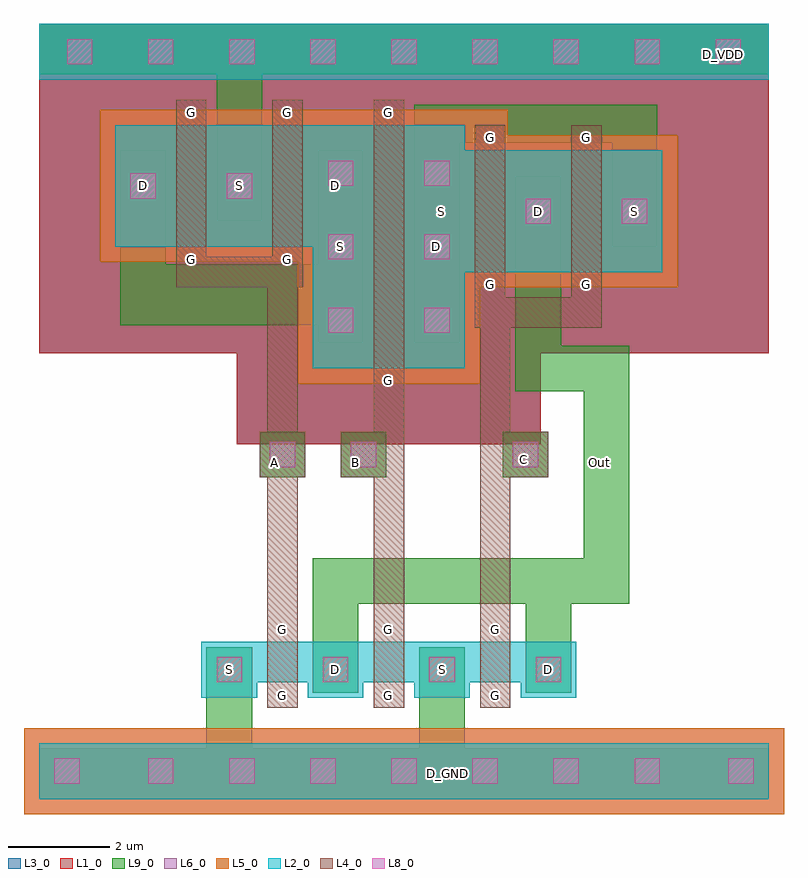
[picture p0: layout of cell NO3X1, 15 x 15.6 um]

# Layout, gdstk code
import gdstk
lib = gdstk.Library(unit=1e-6, precision=1e-09)
def R(c, l, rs):  # rectangles x0, y0, x1, y1
    for r in rs: c.add(gdstk.rectangle(r[:2], r[2:], *l))
def A(c, l, x, y, w, h, nx, ny, dx, dy):  # array of equal rectangles
    R(c, l, [(x+i*dx, y+j*dy, x+i*dx+w, y+j*dy+h) for i in range(nx) for j in range(ny)])
def P(c, l, *ps):  # polygons
    for p in ps: c.add(gdstk.Polygon(p, *l))
L1_0 = (1, 0)
L2_0 = (2, 0)
L3_0 = (3, 0)
L4_0 = (4, 0)
L5_0 = (5, 0)
L6_0 = (6, 0)
L8_0 = (8, 0)
L9_0 = (9, 0)

grid_pmos_end = lib.new_cell('GRID_PMOS_END')
R(grid_pmos_end, L2_0, [(-0.55,-0.55,0.55,0.55)])
R(grid_pmos_end, L5_0, [(-0.85,-0.85,0.85,0.85)])
R(grid_pmos_end, L6_0, [(-0.85,-0.85,0.85,0.85)])
R(grid_pmos_end, L8_0, [(-0.25,-0.25,0.25,0.25)])
R(grid_pmos_end, L9_0, [(-0.55,-0.55,0.55,0.45)])

no3x1 = lib.new_cell('NO3X1')
A(no3x1, L1_0, 0, 8.8, 1.6, 6.5, 9, 1, 1.6, 0)
R(no3x1, L1_0, [(3.9,7,9.9,14.8), (5.9,8.9,11.9,14.3), (7.8,8.9,13.8,14.3), (0,9.4,6,14.8), (1.9,9.4,7.9,14.8)])
A(no3x1, L2_0, 0, 0, 1.6, 1.1, 9, 2, 1.6, 14.2)
A(no3x1, L2_0, 4.3, 2.3, 1, 0.8, 3, 1, 2.1, 0)
R(no3x1, L2_0, [(3.2,2,4.3,3.1), (5.3,2,6.4,3.1), (5.3,2,6.4,3.1), (7.4,2,8.5,3.1), (7.4,2,8.5,3.1), (9.5,2,10.6,3.1), (5.4,8.5,6.5,13.3), (6.5,8.5,7.3,13.3), (7.3,8.5,8.4,13.3), (7.4,10.4,8.5,12.8), (8.5,10.4,9.3,12.8), (9.3,10.4,10.4,12.8), (9.3,10.4,10.4,12.8), (10.4,10.4,11.2,12.8), (11.2,10.4,12.3,12.8), (1.5,10.9,2.6,13.3), (2.6,10.9,3.4,13.3), (3.4,10.9,4.5,13.3), (3.4,10.9,4.5,13.3), (4.5,10.9,5.3,13.3), (5.3,10.9,6.4,13.3)])
A(no3x1, L3_0, 0, 8.8, 1.6, 6.5, 9, 1, 1.6, 0)
R(no3x1, L3_0, [(3.9,7,9.9,14.8), (5.9,8.9,11.9,14.3), (7.8,8.9,13.8,14.3), (0,9.4,6,14.8), (1.9,9.4,7.9,14.8)])
A(no3x1, L4_0, 4.5, 1.8, 0.6, 0.5, 3, 2, 2.1, 1.3)
A(no3x1, L4_0, 4.5, 1.8, 0.6, 1.8, 3, 1, 2.1, 0)
R(no3x1, L4_0, [(4.35,6.35,5.25,7.25), (5.95,6.35,6.85,7.25), (9.15,6.35,10.05,7.25), (6.6,8,7.2,8.5), (6.6,8,7.2,13.8), (8.6,9.9,9.2,13.3), (8.6,9.9,9.2,10.4), (10.5,9.9,11.1,13.3), (10.5,9.9,11.1,10.4), (2.7,10.4,3.3,13.8), (2.7,10.4,3.3,10.9), (4.6,10.4,5.2,13.8), (4.6,10.4,5.2,10.9), (8.6,12.8,9.2,13.3), (10.5,12.8,11.1,13.3), (2.7,13.3,3.3,13.8), (4.6,13.3,5.2,13.8), (6.6,13.3,7.2,13.8)])
P(no3x1, L4_0, [(8.6,9.3),(11.1,9.3),(11.1,10.1),(10.5,10.1),(10.5,9.9),(8.6,9.9)])
A(no3x1, L5_0, 0, -0.3, 1.6, 1.7, 9, 1, 1.6, 0)
R(no3x1, L5_0, [(5.1,8.2,8.7,13.6), (7.1,10.1,10.7,13.1), (8.7,10.1,9.25,13.6), (9,10.1,12.6,13.1), (1.2,10.6,4.8,13.6), (3.1,10.6,6.7,13.6), (4.8,10.6,5.1,13.6)])
A(no3x1, L6_0, 0, -0.3, 1.6, 1.7, 9, 1, 1.6, 0)
R(no3x1, L6_0, [(5.1,8.2,8.7,13.6), (7.1,10.1,10.7,13.1), (8.55,10.1,9.25,13.6), (9,10.1,12.6,13.1), (1.2,10.6,4.8,13.6), (3.1,10.6,6.7,13.6), (4.45,10.6,5.25,13.6)])
A(no3x1, L8_0, 2.15, 0.3, 0.5, 0.5, 7, 1, 1.6, 0)
A(no3x1, L8_0, 5.7, 9.2, 0.5, 0.5, 1, 3, 0, 1.45)
A(no3x1, L8_0, 7.6, 9.2, 0.5, 0.5, 1, 3, 0, 1.45)
A(no3x1, L8_0, 0.55, 14.5, 0.5, 0.5, 9, 1, 1.6, 0)
R(no3x1, L8_0, [(3.5,2.3,4,2.8), (5.6,2.3,6.1,2.8), (5.6,2.3,6.1,2.8), (7.7,2.3,8.2,2.8), (7.7,2.3,8.2,2.8), (9.8,2.3,10.3,2.8), (4.55,6.55,5.05,7.05), (6.15,6.55,6.65,7.05), (9.35,6.55,9.85,7.05), (9.6,11.35,10.1,11.85), (9.6,11.35,10.1,11.85), (11.5,11.35,12,11.85), (1.8,11.85,2.3,12.35), (3.7,11.85,4.2,12.35), (3.7,11.85,4.2,12.35)])
A(no3x1, L9_0, 0, 0, 1.6, 1, 9, 2, 1.6, 14.3)
R(no3x1, L9_0, [(3.45,0.3,8.25,0.9), (7.75,0.3,8.35,0.9), (7.5,0.5,8.4,2.45), (3.3,0.6,4.2,2.45), (3.3,2.1,4.2,3), (5.4,2.1,6.3,3), (5.4,2.1,6.3,3), (7.5,2.1,8.4,3), (7.5,2.1,8.4,3), (9.6,2.1,10.5,3), (9.6,2.1,10.5,4.75), (4.35,6.35,5.25,7.25), (4.35,6.35,5.25,7.25), (4.35,6.35,5.25,7.25), (5.95,6.35,6.85,7.25), (5.95,6.35,6.85,7.25), (5.95,6.35,6.85,7.25), (9.15,6.35,10.05,7.25), (9.15,6.35,10.05,7.25), (9.15,6.35,10.05,7.25), (9.15,6.35,10.05,7.25), (10.75,6.35,11.65,7.25), (10.75,6.35,11.65,7.25), (5.5,9,6.4,12.8), (7.4,9,8.3,12.8), (9.4,9.4,10.3,12.3), (5.5,10.55,6.4,12.8), (9.4,10.9,10.3,12.3), (9.4,10.9,10.3,12.3), (11.3,10.9,12.2,12.3), (1.6,11.4,2.5,12.8), (3.5,11.4,4.4,12.8), (3.5,11.4,4.4,12.8), (3.5,11.9,4.4,15.2), (13.25,14.45,13.85,15.05)])
P(no3x1, L9_0, [(1.6,9.35),(6.4,9.35),(6.4,10.55),(2.5,10.55),(2.5,12.8),(1.6,12.8)],
  [(7.4,10.9),(8.3,10.9),(8.3,12.95),(11.3,12.95),(11.3,10.9),(12.2,10.9),(12.2,13.7),(7.4,13.7)],
  [(5.4,2.1),(6.3,2.1),(6.3,3.85),(11.65,3.85),(11.65,8.95),(10.3,8.95),(10.3,10.3),(9.4,10.3),(9.4,8.05),(10.75,8.05),(10.75,4.75),(5.4,4.75)])
no3x1.add(gdstk.FlexPath([(6.9,3.6),(6.9,8)], 0.6, ends="flush", simple_path=True, layer=4, datatype=0))  # L4_0
no3x1.add(gdstk.FlexPath([(9,3.6),(9,9.3)], 0.6, ends="flush", simple_path=True, layer=4, datatype=0))  # L4_0
no3x1.add(gdstk.FlexPath([(4.8,3.6),(4.8,10.4)], 0.6, ends="flush", simple_path=True, layer=4, datatype=0))  # L4_0
no3x1.add(gdstk.FlexPath([(2.7,10.4),(5.2,10.4)], 0.6, ends="flush", simple_path=True, layer=4, datatype=0))  # L4_0
no3x1.add(gdstk.Reference(grid_pmos_end, (0.55,0.55)))
no3x1.add(gdstk.Reference(grid_pmos_end, (13.85,0.55)))
no3x1.add(gdstk.Label('G', (3,10.652), layer=4, texttype=0))
no3x1.add(gdstk.Label('G', (3,13.552), layer=4, texttype=0))
no3x1.add(gdstk.Label('S', (3.951,12.101), layer=9, texttype=0))
no3x1.add(gdstk.Label('D', (2.051,12.101), layer=9, texttype=0))
no3x1.add(gdstk.Label('G', (4.9,10.652), layer=4, texttype=0))
no3x1.add(gdstk.Label('G', (4.9,13.552), layer=4, texttype=0))
no3x1.add(gdstk.Label('S', (3.949,12.101), layer=9, texttype=0))
no3x1.add(gdstk.Label('D', (5.849,12.101), layer=2, texttype=0))
no3x1.add(gdstk.Label('G', (6.9,8.252), layer=4, texttype=0))
no3x1.add(gdstk.Label('G', (6.9,13.552), layer=4, texttype=0))
no3x1.add(gdstk.Label('S', (5.949,10.901), layer=9, texttype=0))
no3x1.add(gdstk.Label('D', (7.849,10.901), layer=9, texttype=0))
no3x1.add(gdstk.Label('G', (8.9,10.152), layer=4, texttype=0))
no3x1.add(gdstk.Label('G', (8.9,13.052), layer=4, texttype=0))
no3x1.add(gdstk.Label('S', (7.949,11.601), layer=2, texttype=0))
no3x1.add(gdstk.Label('D', (9.849,11.601), layer=9, texttype=0))
no3x1.add(gdstk.Label('G', (10.8,10.152), layer=4, texttype=0))
no3x1.add(gdstk.Label('G', (10.8,13.052), layer=4, texttype=0))
no3x1.add(gdstk.Label('S', (11.751,11.601), layer=9, texttype=0))
no3x1.add(gdstk.Label('D', (9.851,11.601), layer=9, texttype=0))
no3x1.add(gdstk.Label('G', (6.9,3.348), layer=4, texttype=0))
no3x1.add(gdstk.Label('G', (6.9,2.048), layer=4, texttype=0))
no3x1.add(gdstk.Label('S', (7.951,2.549), layer=9, texttype=0))
no3x1.add(gdstk.Label('D', (5.851,2.549), layer=9, texttype=0))
no3x1.add(gdstk.Label('G', (4.8,3.348), layer=4, texttype=0))
no3x1.add(gdstk.Label('G', (4.8,2.048), layer=4, texttype=0))
no3x1.add(gdstk.Label('S', (3.749,2.549), layer=9, texttype=0))
no3x1.add(gdstk.Label('D', (5.849,2.549), layer=9, texttype=0))
no3x1.add(gdstk.Label('G', (9,3.348), layer=4, texttype=0))
no3x1.add(gdstk.Label('G', (9,2.048), layer=4, texttype=0))
no3x1.add(gdstk.Label('S', (7.949,2.549), layer=9, texttype=0))
no3x1.add(gdstk.Label('D', (10.049,2.549), layer=9, texttype=0))
no3x1.add(gdstk.Label('B', (6.25,6.65), layer=50, texttype=0))
no3x1.add(gdstk.Label('C', (9.55,6.7), layer=50, texttype=0))
no3x1.add(gdstk.Label('D_VDD', (13.5,14.7), layer=50, texttype=0))
no3x1.add(gdstk.Label('D_GND', (8.05,0.5), layer=50, texttype=0))
no3x1.add(gdstk.Label('A', (4.65,6.65), layer=50, texttype=0))
no3x1.add(gdstk.Label('Out', (11.05,6.65), layer=50, texttype=0))

lib.write_gds('NO3X1.gds')
